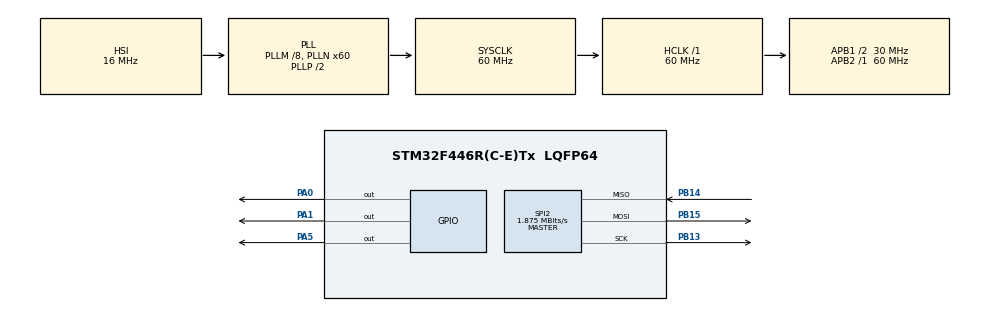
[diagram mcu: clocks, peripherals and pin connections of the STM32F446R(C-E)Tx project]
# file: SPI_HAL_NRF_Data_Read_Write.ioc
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Mcu.Family=STM32F4
Mcu.Name=STM32F446R(C-E)Tx
Mcu.Package=LQFP64
NVIC.PriorityGroup=NVIC_PRIORITYGROUP_0
PA0-WKUP.Signal=GPIO_Output
PA1.PinState=GPIO_PIN_SET
PA1.Signal=GPIO_Output
PA5.Signal=GPIO_Output
PB13.Mode=Full_Duplex_Master
PB13.Signal=SPI2_SCK
PB14.Mode=Full_Duplex_Master
PB14.Signal=SPI2_MISO
PB15.Mode=Full_Duplex_Master
PB15.Signal=SPI2_MOSI
PB4.Signal=SPI1_MISO
PB5.Signal=SPI1_MOSI
PH0-OSC_IN.Mode=HSE-External-Oscillator
PH0-OSC_IN.Signal=RCC_OSC_IN
PH1-OSC_OUT.Mode=HSE-External-Oscillator
PH1-OSC_OUT.Signal=RCC_OSC_OUT
ProjectManager.HeapSize=0x200
ProjectManager.StackSize=0x400
ProjectManager.TargetToolchain=STM32CubeIDE
RCC.48MHZClocksFreq_Value=84000000
RCC.AHBFreq_Value=60000000
RCC.APB1CLKDivider=RCC_HCLK_DIV2
RCC.APB1Freq_Value=30000000
RCC.APB1TimFreq_Value=60000000
RCC.APB2Freq_Value=60000000
RCC.APB2TimFreq_Value=60000000
RCC.CortexFreq_Value=60000000
RCC.FLatency-AdvancedSettings=FLASH_LATENCY_1
RCC.HCLKFreq_Value=60000000
RCC.HSE_VALUE=8000000
RCC.HSI_VALUE=16000000
RCC.PLLM=8
RCC.PLLN=60
RCC.SYSCLKFreq_VALUE=60000000
RCC.SYSCLKSource=RCC_SYSCLKSOURCE_PLLCLK
RCC.USBFreq_Value=60000000
RCC.VCOOutputFreq_Value=120000000
SPI2.BaudRatePrescaler=SPI_BAUDRATEPRESCALER_16
SPI2.CalculateBaudRate=1.875 MBits/s
SPI2.Direction=SPI_DIRECTION_2LINES
SPI2.Mode=SPI_MODE_MASTER
SPI2.VirtualType=VM_MASTER
board=NUCLEO-F446RE

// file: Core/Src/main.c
/* USER CODE BEGIN Header */
/**
  ******************************************************************************
  * @file           : main.c
  * @brief          : Main program body
  ******************************************************************************
  * @attention
  *
  * <h2><center>&copy; Copyright (c) 2021 STMicroelectronics.
  * All rights reserved.</center></h2>
  *
  * This software component is licensed by ST under BSD 3-Clause license,
  * the "License"; You may not use this file except in compliance with the
  * License. You may obtain a copy of the License at:
  *                        opensource.org/licenses/BSD-3-Clause
  *
  ******************************************************************************
  */
/* USER CODE END Header */
#include "main.h"

/* USER CODE BEGIN Includes */
uint8_t spi_data[2];
/* USER CODE END Includes */

SPI_HandleTypeDef hspi2;

void SystemClock_Config(void);
static void MX_GPIO_Init(void);
static void MX_SPI2_Init(void);

int main(void)
{

  /* MCU Configuration--------------------------------------------------------*/

  /* Reset of all peripherals, Initializes the Flash interface and the Systick. */
  HAL_Init();

  /* Configure the system clock */
  SystemClock_Config();

  /* Initialize all configured peripherals */
  MX_GPIO_Init();
  MX_SPI2_Init();
  /* USER CODE BEGIN 2 */
  HAL_GPIO_WritePin(GPIOA, GPIO_PIN_1, GPIO_PIN_RESET);
  HAL_GPIO_WritePin(GPIOA, GPIO_PIN_0, GPIO_PIN_SET);
  HAL_Delay(10);

  // 1. PA0 0'a çekilerek cihaz iletişim için aktifleştirildi
  HAL_GPIO_WritePin(GPIOA, GPIO_PIN_0, GPIO_PIN_RESET);

  spi_data[0] = 0x05;
  HAL_SPI_Transmit(&hspi2, spi_data, 1, 1000);

  HAL_SPI_Receive(&hspi2, &spi_data[1], 1, 1000);
  HAL_GPIO_WritePin(GPIOA, GPIO_PIN_0, GPIO_PIN_SET);

  spi_data[0] = 0x05 | 0x20;
  spi_data[1] = 0x62;
  HAL_GPIO_WritePin(GPIOA, GPIO_PIN_0, GPIO_PIN_RESET);

  HAL_SPI_Transmit(&hspi2, spi_data, 2, 10);
  HAL_GPIO_WritePin(GPIOA, GPIO_PIN_0, GPIO_PIN_SET);

  HAL_GPIO_WritePin(GPIOA, GPIO_PIN_0, GPIO_PIN_RESET);

  spi_data[0] = 0x05;
  spi_data[1] = 0;
  HAL_SPI_Transmit(&hspi2, spi_data, 1, 10);

  HAL_SPI_Receive(&hspi2, &spi_data[1], 1, 10);
  HAL_GPIO_WritePin(GPIOA, GPIO_PIN_0, GPIO_PIN_SET);

  /* USER CODE END 2 */

  /* Infinite loop */
  while (1)
  {

  }
}

void SystemClock_Config(void)
{
  RCC_OscInitTypeDef RCC_OscInitStruct = {0};
  RCC_ClkInitTypeDef RCC_ClkInitStruct = {0};

  /** Configure the main internal regulator output voltage
  */
  __HAL_RCC_PWR_CLK_ENABLE();
  __HAL_PWR_VOLTAGESCALING_CONFIG(PWR_REGULATOR_VOLTAGE_SCALE3);
  /** Initializes the RCC Oscillators according to the specified parameters
  * in the RCC_OscInitTypeDef structure.
  */
  RCC_OscInitStruct.OscillatorType = RCC_OSCILLATORTYPE_HSI;
  RCC_OscInitStruct.HSIState = RCC_HSI_ON;
  RCC_OscInitStruct.HSICalibrationValue = RCC_HSICALIBRATION_DEFAULT;
  RCC_OscInitStruct.PLL.PLLState = RCC_PLL_ON;
  RCC_OscInitStruct.PLL.PLLSource = RCC_PLLSOURCE_HSI;
  RCC_OscInitStruct.PLL.PLLM = 8;
  RCC_OscInitStruct.PLL.PLLN = 60;
  RCC_OscInitStruct.PLL.PLLP = RCC_PLLP_DIV2;
  RCC_OscInitStruct.PLL.PLLQ = 2;
  RCC_OscInitStruct.PLL.PLLR = 2;
  if (HAL_RCC_OscConfig(&RCC_OscInitStruct) != HAL_OK)
  {
    Error_Handler();
  }
  /** Initializes the CPU, AHB and APB buses clocks
  */
  RCC_ClkInitStruct.ClockType = RCC_CLOCKTYPE_HCLK|RCC_CLOCKTYPE_SYSCLK
                              |RCC_CLOCKTYPE_PCLK1|RCC_CLOCKTYPE_PCLK2;
  RCC_ClkInitStruct.SYSCLKSource = RCC_SYSCLKSOURCE_PLLCLK;
  RCC_ClkInitStruct.AHBCLKDivider = RCC_SYSCLK_DIV1;
  RCC_ClkInitStruct.APB1CLKDivider = RCC_HCLK_DIV2;
  RCC_ClkInitStruct.APB2CLKDivider = RCC_HCLK_DIV1;

  if (HAL_RCC_ClockConfig(&RCC_ClkInitStruct, FLASH_LATENCY_1) != HAL_OK)
  {
    Error_Handler();
  }
}

static void MX_SPI2_Init(void)
{

  /* SPI2 parameter configuration*/
  hspi2.Instance = SPI2;
  hspi2.Init.Mode = SPI_MODE_MASTER;
  hspi2.Init.Direction = SPI_DIRECTION_2LINES;
  hspi2.Init.DataSize = SPI_DATASIZE_8BIT;
  hspi2.Init.CLKPolarity = SPI_POLARITY_LOW;
  hspi2.Init.CLKPhase = SPI_PHASE_1EDGE;
  hspi2.Init.NSS = SPI_NSS_SOFT;
  hspi2.Init.BaudRatePrescaler = SPI_BAUDRATEPRESCALER_16;
  hspi2.Init.FirstBit = SPI_FIRSTBIT_MSB;
  hspi2.Init.TIMode = SPI_TIMODE_DISABLE;
  hspi2.Init.CRCCalculation = SPI_CRCCALCULATION_DISABLE;
  hspi2.Init.CRCPolynomial = 10;
  if (HAL_SPI_Init(&hspi2) != HAL_OK)
  {
    Error_Handler();
  }

}

static void MX_GPIO_Init(void)
{
  GPIO_InitTypeDef GPIO_InitStruct = {0};

  /* GPIO Ports Clock Enable */
  __HAL_RCC_GPIOH_CLK_ENABLE();
  __HAL_RCC_GPIOA_CLK_ENABLE();
  __HAL_RCC_GPIOB_CLK_ENABLE();

  /*Configure GPIO pin Output Level */
  HAL_GPIO_WritePin(GPIOA, GPIO_PIN_0|GPIO_PIN_5, GPIO_PIN_RESET);

  /*Configure GPIO pin Output Level */
  HAL_GPIO_WritePin(GPIOA, GPIO_PIN_1, GPIO_PIN_SET);

  /*Configure GPIO pins : PA0 PA1 PA5 */
  GPIO_InitStruct.Pin = GPIO_PIN_0|GPIO_PIN_1|GPIO_PIN_5;
  GPIO_InitStruct.Mode = GPIO_MODE_OUTPUT_PP;
  GPIO_InitStruct.Pull = GPIO_NOPULL;
  GPIO_InitStruct.Speed = GPIO_SPEED_FREQ_LOW;
  HAL_GPIO_Init(GPIOA, &GPIO_InitStruct);

  /*Configure GPIO pins : PB4 PB5 */
  GPIO_InitStruct.Pin = GPIO_PIN_4|GPIO_PIN_5;
  GPIO_InitStruct.Mode = GPIO_MODE_AF_PP;
  GPIO_InitStruct.Pull = GPIO_NOPULL;
  GPIO_InitStruct.Speed = GPIO_SPEED_FREQ_VERY_HIGH;
  GPIO_InitStruct.Alternate = GPIO_AF5_SPI1;
  HAL_GPIO_Init(GPIOB, &GPIO_InitStruct);

}

void Error_Handler(void)
{
}

/************************ (C) COPYRIGHT STMicroelectronics *****END OF FILE****/
